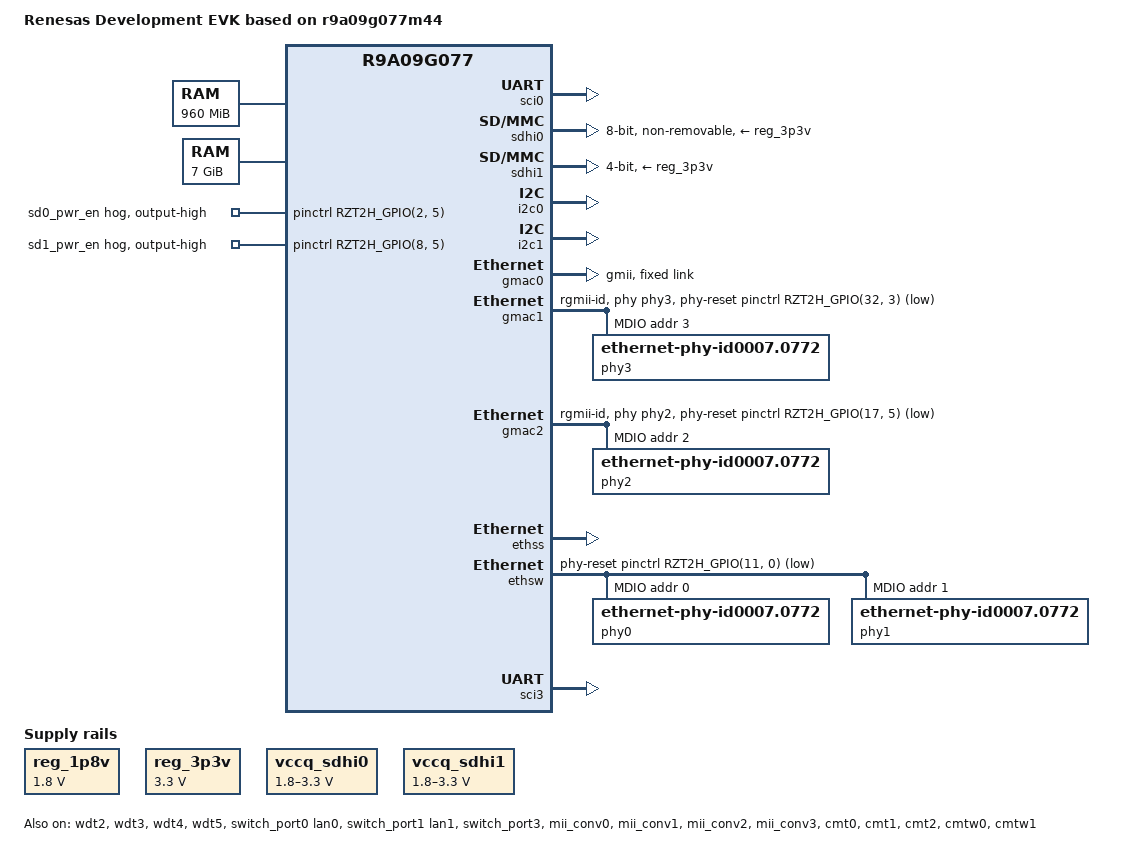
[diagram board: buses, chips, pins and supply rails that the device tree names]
// SPDX-License-Identifier: (GPL-2.0-only OR BSD-2-Clause)
/*
 * Device Tree Source for the RZ/T2H Development EVK board
 *
 * Copyright (C) 2023 Renesas Electronics Corp.
 */

/dts-v1/;
#include "r9a09g077.dtsi"
#include <dt-bindings/pinctrl/rzt2h-pinctrl.h>
#include <dt-bindings/gpio/gpio.h>
#include <dt-bindings/net/rzt2h-ethss.h>
#include <dt-bindings/net/mscc-phy-vsc8531.h>

/*
 * Select SDHI0 or eMMC support
 * SEL_SD0 = 0: SDHI
 * SEL_SDO = 1: eMMC (default)
 */
#define SEL_SD0		1

/*
 * Set SEL_RSPI_ETH2 to below values to select using of:
 * - 0: RSPI0
 * - 1: ETH2 (default)
 */
#define SEL_RSPI_ETH2		1

/*
 * Set SEL_SCI3_PTPOUT2 to below values to select using of:
 * - 0: SCI3 (default)
 * - 1: ETHSW_PTPOUT2
 */
#define SEL_SCI3_PTPOUT2	0

/ {
	model = "Renesas Development EVK based on r9a09g077m44";
	compatible = "renesas,r9a09g077m44-dev", "renesas,r9a09g077m44", "renesas,r9a09g077";


	aliases {
		serial0 = &sci0;
#if (!SEL_SCI3_PTPOUT2)
		serial3	= &sci3;
#endif
		mmc0 = &sdhi0;
		mmc1 = &sdhi1;
		i2c0 = &i2c0;
		i2c1 = &i2c1;
		i2c2 = &i2c2;
		eth0 = &gmac1;
		eth1 = &gmac2;
		eth2 = &gmac0;
	};

	chosen {
		bootargs = "ignore_loglevel";
		stdout-path = "serial0:115200n8";
	};

	memory@C4000000 {
		device_type = "memory";
		reg = <0x0 0xC4000000 0x0 0x3C000000>;
	};

	memory@240000000 {
		device_type = "memory";
		reg = <0x2 0x40000000 0x1 0xC0000000>;
	};

	reserved-memory {
		#address-cells = <2>;
		#size-cells = <2>;
		ranges;

		global_cma: linux,cma@D0000000 {
			compatible = "shared-dma-pool";
			linux,cma-default;
			reusable;
			reg = <0x0 0xD0000000 0x0 0x10000000>;
		};
	};

	reg_1p8v: regulator0 {
		compatible = "regulator-fixed";

		regulator-name = "fixed-1.8V";
		regulator-min-microvolt = <1800000>;
		regulator-max-microvolt = <1800000>;
		regulator-boot-on;
		regulator-always-on;
	};

	reg_3p3v: regulator1 {
		compatible = "regulator-fixed";

		regulator-name = "fixed-3.3V";
		regulator-min-microvolt = <3300000>;
		regulator-max-microvolt = <3300000>;
		regulator-boot-on;
		regulator-always-on;
	};

	vccq_sdhi0: regulator-vccq-sdhi0 {
		compatible = "regulator-gpio";

		regulator-name = "SDHI0 VccQ";
		regulator-min-microvolt = <1800000>;
		regulator-max-microvolt = <3300000>;

		gpios = <&pinctrl RZT2H_GPIO(2, 6) GPIO_ACTIVE_HIGH>;

		gpios-states = <1>;
		states = <3300000 0 1800000 1>;
	};

	vccq_sdhi1: regulator-vccq-sdhi1 {
		compatible = "regulator-gpio";

		regulator-name = "SDHI1 VccQ";
		regulator-min-microvolt = <1800000>;
		regulator-max-microvolt = <3300000>;

		gpios = <&pinctrl RZT2H_GPIO(8, 6) GPIO_ACTIVE_HIGH>;

		gpios-states = <1>;
		states = <3300000 0 1800000 1>;
	};

	mtl_rx_setup: rx-queues-config {
		snps,rx-queues-to-use = <1>;
		queue0 {
		};
	};

	mtl_tx_setup: tx-queues-config {
		snps,tx-queues-to-use = <3>;
		snps,tx-sched-wrr;
		queue0 {
			snps,weight = <0x10>;
			snps,dcb-algorithm;
		};

		queue1 {
			snps,weight = <0x10>;
			snps,dcb-algorithm;
		};

		queue2 {
			snps,weight = <0x10>;
			snps,dcb-algorithm;
		};
	};
};

&pinctrl {
	sci0_pins: sci0 {
		pinmux = <RZT2H_PORT_PINMUX(27, 5, 0x14)>, /* SCI0_TXD */
			 <RZT2H_PORT_PINMUX(27, 4, 0x14)>; /* SCI0_RXD */
	};

	sd0_pwr_en {
		gpio-hog;
		gpios = <RZT2H_GPIO(2, 5) GPIO_ACTIVE_HIGH>;
		output-high;
		line-name = "sd0_pwr_en";
	};

	sd1_pwr_en {
		gpio-hog;
		gpios = <RZT2H_GPIO(8, 5) GPIO_ACTIVE_HIGH>;
		output-high;
		line-name = "sd1_pwr_en";
	};

	sdhi0_pins: sd0 {
		sd0_data {
			pinmux = <RZT2H_PORT_PINMUX(12, 2, 0x29)>, /* SD0_DATA0 */
				 <RZT2H_PORT_PINMUX(12, 3, 0x29)>, /* SD0_DATA1 */
				 <RZT2H_PORT_PINMUX(12, 4, 0x29)>, /* SD0_DATA2 */
				 <RZT2H_PORT_PINMUX(12, 5, 0x29)>, /* SD0_DATA3 */
				 <RZT2H_PORT_PINMUX(12, 6, 0x29)>, /* SD0_DATA4 */
				 <RZT2H_PORT_PINMUX(12, 7, 0x29)>, /* SD0_DATA5 */
				 <RZT2H_PORT_PINMUX(13, 0, 0x29)>, /* SD0_DATA6 */
				 <RZT2H_PORT_PINMUX(13, 1, 0x29)>; /* SD0_DATA7 */
			drive-strength	= <2>;
			slew-rate	= <1>;
		};

		sd0_ctrl {
			pinmux = <RZT2H_PORT_PINMUX(12, 1, 0x29)>, /* SD0_CMD */
				 <RZT2H_PORT_PINMUX(22, 5, 0x29)>; /* SD0_CD */
			drive-strength	= <2>;
			slew-rate	= <1>;
		};

		sd0_clk {
			pinmux = <RZT2H_PORT_PINMUX(12, 0, 0x29)>; /* SD0_CLK */
			drive-strength	= <3>;
			slew-rate	= <1>;
		};
	};

	sdhi1_pins: sd1 {
		sd1_data {
			pinmux = <RZT2H_PORT_PINMUX(16, 7, 0x29)>, /* SD1_DATA0 */
				 <RZT2H_PORT_PINMUX(17, 0, 0x29)>, /* SD1_DATA1 */
				 <RZT2H_PORT_PINMUX(17, 1, 0x29)>, /* SD1_DATA2 */
				 <RZT2H_PORT_PINMUX(17, 2, 0x29)>; /* SD1_DATA3 */
			drive-strength	= <2>;
			slew-rate	= <1>;
		};

		sd1_ctrl {
			pinmux = <RZT2H_PORT_PINMUX(16, 6, 0x29)>, /* SD1_CMD */
				 <RZT2H_PORT_PINMUX(17, 4, 0x29)>; /* SD1_CD */
			drive-strength	= <2>;
			slew-rate	= <1>;
		};

		sd1_clk {
			pinmux = <RZT2H_PORT_PINMUX(16, 5, 0x29)>; /* SD1_CLK */
			drive-strength	= <3>;
			slew-rate	= <1>;
		};
	};

	i2c0_pins: i2c0 {
		pinmux = <RZT2H_PORT_PINMUX(23, 3, 0x17)>, /* SDA */
			<RZT2H_PORT_PINMUX(23, 4, 0x17)>; /* SCL */
	};

	i2c1_pins: i2c1 {
		pinmux = <RZT2H_PORT_PINMUX(5, 0, 0x17)>, /* SDA */
			<RZT2H_PORT_PINMUX(4, 7, 0x17)>; /* SCL */
	};

#if (!SEL_RSPI_ETH2)
	spi0_pins: spi0 {
		pinmux = <RZT2H_PORT_PINMUX(31, 4, 0x1A)>, /* SCK */
			<RZT2H_PORT_PINMUX(31, 5, 0x1A)>, /* MOSI */
			<RZT2H_PORT_PINMUX(31, 6, 0x1A)>, /* MISO */
			<RZT2H_PORT_PINMUX(31, 7, 0x1A)>; /* SSL */
	};
#endif

#if (!SEL_SCI3_PTPOUT2)
	sci3_pins: sci3 {
		pinmux = <RZT2H_PORT_PINMUX(13, 5, 0x14)>, /* SCI3_TXD */
			 <RZT2H_PORT_PINMUX(13, 4, 0x14)>, /* SCI3_RXD */
			 <RZT2H_PORT_PINMUX(14, 0, 0x14)>; /* SCI3_DE */
	};
#endif
	mdio1_pins: gmac_mdio1 {
		pinmux = <RZT2H_PORT_PINMUX(26, 1, 0x10)>, /* MDIO1_MDC */
			<RZT2H_PORT_PINMUX(26, 2, 0x10)>; /* MDIO1_MDIO */
	};

	mdio2_pins: gmac_mdio2 {
		pinmux = <RZT2H_PORT_PINMUX(30, 5, 0x10)>, /* MDIO2_MDC */
			<RZT2H_PORT_PINMUX(30, 6, 0x10)>; /* MDIO2_MDIO */
	};

	ethsw_pins: ethsw_pins {
		pinmux = <RZT2H_PORT_PINMUX(21, 4, 0x11)>, /* ETHSW_MDC */
			<RZT2H_PORT_PINMUX(21, 5, 0x11)>, /* ETHSW_MDIO */
			<RZT2H_PORT_PINMUX(21, 6, 0x11)>, /* ETHSW_PHYLINK0 */
			<RZT2H_PORT_PINMUX(26, 3, 0x11)>, /* ETHSW_PHYLINK1 */
			<RZT2H_PORT_PINMUX(30, 7, 0x11)>, /* ETHSW_PHYLINK2 */
			<RZT2H_PORT_PINMUX(17, 6, 0x11)>, /* ETHSW_PTPOUT0 */
			<RZT2H_PORT_PINMUX(17, 7, 0x11)>, /* ETHSW_PTPOUT1 */
#if (SEL_SCI3_PTPOUT2)
			<RZT2H_PORT_PINMUX(14, 0, 0x11)>, /* ETHSW_PTPOUT2 */
#endif
			<RZT2H_PORT_PINMUX(18, 7, 0x11)>; /* ETHSW_PTPOUT3 */
	};

	pins_refclk: pins_refclk {
		pinmux = <RZT2H_PORT_PINMUX(21, 7, 0x02)>, /* ETH0_REFCLK */
			<RZT2H_PORT_PINMUX(26, 4, 0x02)>, /* ETH1_REFCLK */
			<RZT2H_PORT_PINMUX(31, 0, 0x02)>, /* ETH2_REFCLK */
			<RZT2H_PORT_PINMUX(34, 6, 0x02)>; /* ETH3_REFCLK */
	};

	eth3_pins: ethss_3 {
		pinmux = <RZT2H_PORT_PINMUX(33, 2, 0x0F)>, /* ETH3_TXCLK */
			<RZT2H_PORT_PINMUX(33, 3, 0x0F)>, /* ETH3_TXD[0] */
			<RZT2H_PORT_PINMUX(33, 4, 0x0F)>, /* ETH3_TXD[1] */
			<RZT2H_PORT_PINMUX(33, 5, 0x0F)>, /* ETH3_TXD[2] */
			<RZT2H_PORT_PINMUX(33, 6, 0x0F)>, /* ETH3_TXD[3] */
			<RZT2H_PORT_PINMUX(33, 7, 0x0F)>, /* ETH3_TXEN */
			<RZT2H_PORT_PINMUX(34, 0, 0x0F)>, /* ETH3_RXCLK */
			<RZT2H_PORT_PINMUX(34, 1, 0x0F)>, /* ETH3_RXD[0] */
			<RZT2H_PORT_PINMUX(34, 2, 0x0F)>, /* ETH3_RXD[1] */
			<RZT2H_PORT_PINMUX(34, 3, 0x0F)>, /* ETH3_RXD[2] */
			<RZT2H_PORT_PINMUX(34, 4, 0x0F)>, /* ETH3_RXD[3] */
			<RZT2H_PORT_PINMUX(34, 5, 0x0F)>, /* ETH3_RXDV */
			<RZT2H_PORT_PINMUX(34, 7, 0x0F)>, /* ETH3_TXER */
			<RZT2H_PORT_PINMUX(35, 0, 0x0F)>, /* ETH3_RXER */
			<RZT2H_PORT_PINMUX(35, 1, 0x0F)>, /* ETH3_CRS */
			<RZT2H_PORT_PINMUX(35, 2, 0x0F)>; /* ETH3_COL */
			input-schmitt-disable;
			slew-rate       = <1>;
			drive-strength  = <3>;
	};

#if (SEL_RSPI_ETH2)
	eth2_pins: ethss_2 {
		pinmux = <RZT2H_PORT_PINMUX(29, 1, 0x0F)>, /* ETH2_TXCLK */
			<RZT2H_PORT_PINMUX(29, 2, 0x0F)>, /* ETH2_TXD[0] */
			<RZT2H_PORT_PINMUX(29, 3, 0x0F)>, /* ETH2_TXD[1] */
			<RZT2H_PORT_PINMUX(29, 4, 0x0F)>, /* ETH2_TXD[2] */
			<RZT2H_PORT_PINMUX(29, 5, 0x0F)>, /* ETH2_TXD[3] */
			<RZT2H_PORT_PINMUX(29, 6, 0x0F)>, /* ETH2_TXEN */
			<RZT2H_PORT_PINMUX(29, 7, 0x0F)>, /* ETH2_RXCLK */
			<RZT2H_PORT_PINMUX(30, 0, 0x0F)>, /* ETH2_RXD[0] */
			<RZT2H_PORT_PINMUX(30, 1, 0x0F)>, /* ETH2_RXD[1] */
			<RZT2H_PORT_PINMUX(30, 2, 0x0F)>, /* ETH2_RXD[2] */
			<RZT2H_PORT_PINMUX(30, 3, 0x0F)>, /* ETH2_RXD[3] */
			<RZT2H_PORT_PINMUX(30, 4, 0x0F)>, /* ETH2_RXDV */
			<RZT2H_PORT_PINMUX(31, 2, 0x0F)>, /* ETH2_TXER */
			<RZT2H_PORT_PINMUX(31, 3, 0x0F)>, /* ETH2_RXER */
			<RZT2H_PORT_PINMUX(31, 4, 0x0F)>, /* ETH2_CRS */
			<RZT2H_PORT_PINMUX(31, 5, 0x0F)>; /* ETH2_COL */
			input-schmitt-disable;
			slew-rate       = <1>;
			drive-strength  = <3>;
	};
#endif

	eth1_pins: ethss_1 {
		pinmux = <RZT2H_PORT_PINMUX(24, 5, 0x0F)>, /* ETH1_TXCLK */
			<RZT2H_PORT_PINMUX(24, 6, 0x0F)>, /* ETH1_TXD[0] */
			<RZT2H_PORT_PINMUX(24, 7, 0x0F)>, /* ETH1_TXD[1] */
			<RZT2H_PORT_PINMUX(25, 0, 0x0F)>, /* ETH1_TXD[2] */
			<RZT2H_PORT_PINMUX(25, 1, 0x0F)>, /* ETH1_TXD[3] */
			<RZT2H_PORT_PINMUX(25, 2, 0x0F)>, /* ETH1_TXEN */
			<RZT2H_PORT_PINMUX(25, 3, 0x0F)>, /* ETH1_RXCLK */
			<RZT2H_PORT_PINMUX(25, 4, 0x0F)>, /* ETH1_RXD[0] */
			<RZT2H_PORT_PINMUX(25, 5, 0x0F)>, /* ETH1_RXD[1] */
			<RZT2H_PORT_PINMUX(25, 6, 0x0F)>, /* ETH1_RXD[2] */
			<RZT2H_PORT_PINMUX(25, 7, 0x0F)>, /* ETH1_RXD[3] */
			<RZT2H_PORT_PINMUX(26, 0, 0x0F)>, /* ETH1_RXDV */
			<RZT2H_PORT_PINMUX(26, 6, 0x0F)>, /* ETH1_TXER */
			<RZT2H_PORT_PINMUX(26, 7, 0x0F)>, /* ETH1_RXER */
			<RZT2H_PORT_PINMUX(27, 0, 0x0F)>, /* ETH1_CRS */
			<RZT2H_PORT_PINMUX(27, 1, 0x0F)>; /* ETH1_COL */
			input-schmitt-disable;
			slew-rate       = <1>;
			drive-strength  = <3>;
	};

	eth0_pins: ethss_0 {
		pinmux = <RZT2H_PORT_PINMUX(20, 0, 0x0F)>, /* ETH0_TXCLK */
			<RZT2H_PORT_PINMUX(20, 1, 0x0F)>, /* ETH0_TXD[0] */
			<RZT2H_PORT_PINMUX(20, 2, 0x0F)>, /* ETH0_TXD[1] */
			<RZT2H_PORT_PINMUX(20, 3, 0x0F)>, /* ETH0_TXD[2] */
			<RZT2H_PORT_PINMUX(20, 4, 0x0F)>, /* ETH0_TXD[3] */
			<RZT2H_PORT_PINMUX(20, 5, 0x0F)>, /* ETH0_TXEN */
			<RZT2H_PORT_PINMUX(20, 6, 0x0F)>, /* ETH0_RXCLK */
			<RZT2H_PORT_PINMUX(20, 7, 0x0F)>, /* ETH0_RXD[0] */
			<RZT2H_PORT_PINMUX(21, 0, 0x0F)>, /* ETH0_RXD[1] */
			<RZT2H_PORT_PINMUX(21, 1, 0x0F)>, /* ETH0_RXD[2] */
			<RZT2H_PORT_PINMUX(21, 2, 0x0F)>, /* ETH0_RXD[3] */
			<RZT2H_PORT_PINMUX(21, 3, 0x0F)>, /* ETH0_RXDV */
			<RZT2H_PORT_PINMUX(22, 1, 0x0F)>, /* ETH0_TXER */
			<RZT2H_PORT_PINMUX(22, 2, 0x0F)>, /* ETH0_RXER */
			<RZT2H_PORT_PINMUX(22, 3, 0x0F)>, /* ETH0_CRS */
			<RZT2H_PORT_PINMUX(22, 4, 0x0F)>; /* ETH0_COL */
			input-schmitt-disable;
			slew-rate       = <1>;
			drive-strength  = <3>;
	};
};

&extal {
	clock-frequency = <25000000>;
};

&loco {
	clock-frequency = <1000000>;
};

&sci0 {
	pinctrl-0 = <&sci0_pins>;
	pinctrl-names = "default";
	status = "okay";
};

#if (SEL_SD0)
&sdhi0 {
	vmmc-supply = <&reg_3p3v>;
	vqmmc-supply = <&reg_1p8v>;
	bus-width = <8>;
	non-removable;
	mmc-hs200-1_8v;
	fixed-emmc-driver-type = <1>;
	status = "okay";
};
#else
&sdhi0 {
	pinctrl-0 = <&sdhi0_pins>;
	pinctrl-names = "default";

	vmmc-supply = <&reg_3p3v>;
	vqmmc-supply = <&vccq_sdhi0>;
	bus-width = <4>;
	sd-uhs-sdr50;
	sd-uhs-sdr104;
	status = "okay";
};
#endif

&sdhi1 {
	pinctrl-0 = <&sdhi1_pins>;
	pinctrl-names = "default";

	vmmc-supply = <&reg_3p3v>;
	vqmmc-supply = <&vccq_sdhi1>;
	bus-width = <4>;
	sd-uhs-sdr50;
	sd-uhs-sdr104;
	status = "okay";
};

#if (!SEL_RSPI_ETH2)
&spi0 {
	pinctrl-0 = <&spi0_pins>;
	pinctrl-names = "default";

	status = "okay";
};
#endif

&i2c0 {
	pinctrl-0 = <&i2c0_pins>;
	pinctrl-names = "default";

	status = "okay";
};

&i2c1 {
	pinctrl-0 = <&i2c1_pins>;
	pinctrl-names = "default";

	status = "okay";
};

&wdt2 {
	status = "okay";
	timeout-sec = <60>;
};

&wdt3 {
	status = "okay";
	timeout-sec = <60>;
};

&wdt4 {
	status = "okay";
	timeout-sec = <60>;
};

&wdt5 {
	status = "okay";
	timeout-sec = <60>;
};

&gmac0 {
	status = "okay";
	phy-mode = "gmii";
	ethss-handle = <&ethss>;

	fixed-link {
		speed = <1000>;
		full-duplex;
	};
};

&gmac1 {
	phy-handle = <&phy3>;
	phy-mode = "rgmii-id";
	pcs-handle = <&mii_conv3>;
	status = "okay";
	phy-reset-gpios = <&pinctrl RZT2H_GPIO(32, 3) GPIO_ACTIVE_HIGH>;
	pinctrl-names = "default";
	pinctrl-0 = <&mdio1_pins>;
	enable-time-based-scheduling;
	snps,force_thresh_dma_mode;
	snps,tx_threshold = <128>;
	snps,mtl-tx-config = <&mtl_tx_setup>;
	snps,mtl-rx-config = <&mtl_rx_setup>;

	mdio {
		#address-cells = <1>;
		#size-cells = <0>;
		phy3: ethernet-phy@3 {
			compatible = "ethernet-phy-id0007.0772";
			phy-mode = "rgmii-id";
			vsc8531,led-0-mode = <VSC8531_LINK_ACTIVITY>;
			vsc8531,led-1-mode = <VSC8531_LINK_ACTIVITY>;
			vsc8531,led-1-combine-disable;
			reg = <3>;
		};
	};
};

#if (SEL_RSPI_ETH2)
&gmac2 {
	phy-handle = <&phy2>;
	phy-mode = "rgmii-id";
	pcs-handle = <&mii_conv2>;
	status = "okay";
	phy-reset-gpios = <&pinctrl RZT2H_GPIO(17, 5) GPIO_ACTIVE_HIGH>;
	pinctrl-names = "default";
	pinctrl-0 = <&mdio2_pins>;
	enable-time-based-scheduling;
	snps,force_thresh_dma_mode;
	snps,tx_threshold = <128>;
	snps,mtl-tx-config = <&mtl_tx_setup>;
	snps,mtl-rx-config = <&mtl_rx_setup>;

	mdio {
		#address-cells = <1>;
		#size-cells = <0>;
		phy2: ethernet-phy@2 {
			compatible = "ethernet-phy-id0007.0772";
			phy-mode = "rgmii-id";
			vsc8531,led-0-mode = <VSC8531_LINK_ACTIVITY>;
			vsc8531,led-1-mode = <VSC8531_LINK_ACTIVITY>;
			vsc8531,led-1-combine-disable;
			reg = <2>;
		};
	};
};
#endif

&ethss {
	status = "okay";
	pinctrl-names = "default";
	pinctrl-0 = <&pins_refclk>,
		    <&eth3_pins>,
#if (SEL_RSPI_ETH2)
		    <&eth2_pins>,
#endif
		    <&eth1_pins>,
		    <&eth0_pins>;
	renesas,ethss-switch-portmanagement = <ETHSS_GMAC0_PORT>;
	ethsw_pulse_gen_timer = <0>; /* Pulse generator use ETHSW timer 0 */
};

&ethsw {
	status = "okay";
	#address-cells = <1>;
	#size-cells = <0>;
	phy-reset-gpios = <&pinctrl RZT2H_GPIO(11, 0) GPIO_ACTIVE_HIGH>;
	pinctrl-names = "default";
	pinctrl-0 = <&ethsw_pins>;

	dsa,member = <0 0>;

	mdio {
		clock-frequency = <2500000>;

		#address-cells = <1>;
		#size-cells = <0>;

		phy0: ethernet-phy@0 {
			compatible = "ethernet-phy-id0007.0772";
			phy-mode = "mii";
			max-speed = <100>;
			vsc8531,led-0-mode = <VSC8531_LINK_ACTIVITY>;
			vsc8531,led-1-mode = <VSC8531_LINK_ACTIVITY>;
			vsc8531,led-1-combine-disable;
			reg = <0>;
		};

		phy1: ethernet-phy@1 {
			compatible = "ethernet-phy-id0007.0772";
			phy-mode = "mii";
			max-speed = <100>;
			vsc8531,led-0-mode = <VSC8531_LINK_ACTIVITY>;
			vsc8531,led-1-mode = <VSC8531_LINK_ACTIVITY>;
			vsc8531,led-1-combine-disable;
			reg = <1>;
		};
	};
};

&switch_port0 {
	label = "lan0";
	phy-mode = "mii";
	phy-handle = <&phy0>;
	status = "okay";
};

&switch_port1 {
	label = "lan1";
	phy-mode = "mii";
	phy-handle = <&phy1>;
	status = "okay";
};

&switch_port3 {
	status = "okay";
};

&mii_conv0 {
	renesas,ethss-port = <ETHSS_SWITCH_PORT0>;
	renesas,ethsw-phylink = <0>;
	status = "okay";
};

&mii_conv1 {
	renesas,ethss-port = <ETHSS_SWITCH_PORT1>;
	renesas,ethsw-phylink = <0>;
	status = "okay";
};

&mii_conv2 {
	renesas,ethss-port = <ETHSS_GMAC2_PORT>;
	status = "okay";
};

&mii_conv3 {
	renesas,ethss-port = <ETHSS_GMAC1_PORT>;
	status = "okay";
};

&dmac0 {
	memory-region = <&global_cma>;
};

&cmt0 {
	status = "okay";
};

&cmt1 {
	status = "okay";
};

&cmt2 {
	status = "okay";
};

&cmtw0 {
	status = "okay";
};

&cmtw1 {
	status = "okay";
};

#if (!SEL_SCI3_PTPOUT2)
&sci3 {
	pinctrl-0 = <&sci3_pins>;
	pinctrl-names = "default";
	linux,rs485-enabled-at-boot-time;
	rs485-rx-during-tx;
	rs485-enabled;

	status = "okay";
};
#endif
